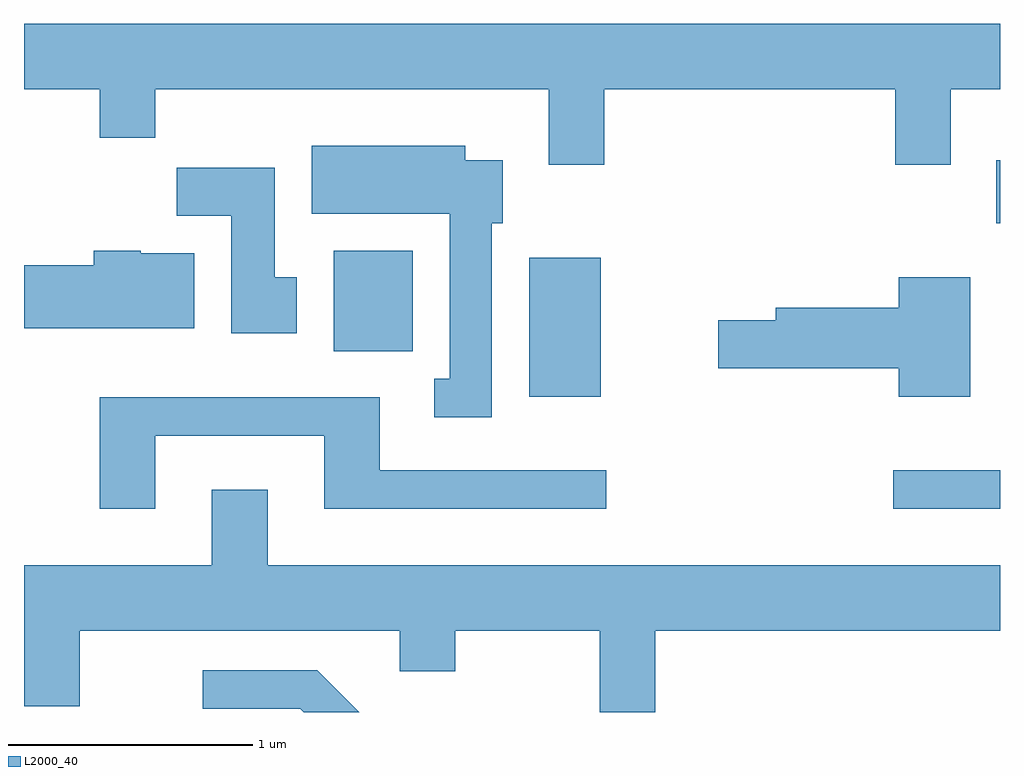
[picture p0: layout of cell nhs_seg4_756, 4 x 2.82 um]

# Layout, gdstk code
import gdstk
lib = gdstk.Library(unit=1e-6, precision=1e-09)
def R(c, l, rs):  # rectangles x0, y0, x1, y1
    for r in rs: c.add(gdstk.rectangle(r[:2], r[2:], *l))
def P(c, l, *ps):  # polygons
    for p in ps: c.add(gdstk.Polygon(p, *l))
L2000_40 = (2000, 40)

nhs_seg4_756 = lib.new_cell('nhs_seg4_756')
R(nhs_seg4_756, L2000_40, [(211.173,1270.816,211.611,1270.974), (209.681,1271.276,209.974,1271.844), (208.881,1271.461,209.204,1271.874), (211.596,1271.986,211.611,1272.244)])
P(nhs_seg4_756, L2000_40, [(209.989,1272.536),(211.181,1272.536),(211.181,1272.226),(211.409,1272.226),(211.409,1272.536),(211.611,1272.536),(211.611,1272.804),(207.611,1272.804),(207.611,1272.536),(207.921,1272.536),(207.921,1272.336),(208.149,1272.336),(208.149,1272.536),(209.761,1272.536),(209.761,1272.226),(209.989,1272.226)],
  [(209.529,1271.986),(209.574,1271.986),(209.574,1272.244),(209.419,1272.244),(209.419,1272.304),(208.791,1272.304),(208.791,1272.026),(209.356,1272.026),(209.356,1271.349),(209.293,1271.349),(209.293,1271.191),(209.529,1271.191)],
  [(208.729,1271.764),(208.639,1271.764),(208.639,1272.214),(208.236,1272.214),(208.236,1272.016),(208.461,1272.016),(208.461,1271.536),(208.729,1271.536)],
  [(208.309,1271.864),(208.09,1271.864),(208.09,1271.874),(207.896,1271.874),(207.896,1271.814),(207.611,1271.814),(207.611,1271.556),(208.309,1271.556)],
  [(211.489,1271.764),(211.196,1271.764),(211.196,1271.639),(210.691,1271.639),(210.691,1271.589),(210.456,1271.589),(210.456,1271.391),(211.196,1271.391),(211.196,1271.276),(211.489,1271.276)],
  [(208.149,1271.116),(208.841,1271.116),(208.841,1270.816),(209.998,1270.816),(209.998,1270.974),(209.069,1270.974),(209.069,1271.274),(207.921,1271.274),(207.921,1270.816),(208.149,1270.816)],
  [(210.199,1270.316),(211.611,1270.316),(211.611,1270.584),(208.609,1270.584),(208.609,1270.894),(208.381,1270.894),(208.381,1270.584),(207.611,1270.584),(207.611,1270.006),(207.839,1270.006),(207.839,1270.316),(209.151,1270.316),(209.151,1270.151),(209.379,1270.151),(209.379,1270.316),(209.971,1270.316),(209.971,1269.982),(210.199,1269.982)],
  [(208.812,1270.154),(208.343,1270.154),(208.343,1269.996),(208.744,1269.996),(208.758,1269.982),(208.984,1269.982)])

lib.write_gds('nhs_seg4_756.gds')
